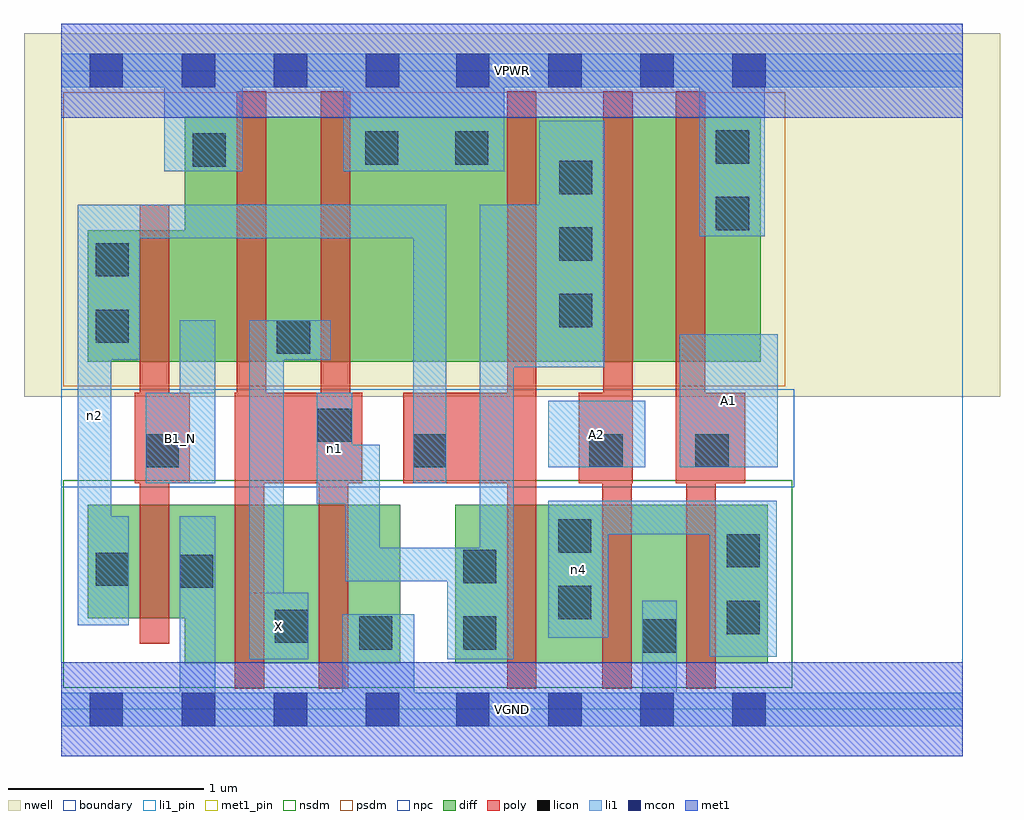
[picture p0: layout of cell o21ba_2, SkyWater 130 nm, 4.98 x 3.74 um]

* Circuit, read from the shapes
.subckt o21ba_2 A1 A2 B1_N VGND VPWR X n1 n2 n4
XM1 VGND B1_N n2 VSUBS sky130_fd_pr__nfet_01v8 w=0.58 l=0.15
XM2 X n1 VGND VSUBS sky130_fd_pr__nfet_01v8 w=0.81 l=0.15 m=2
XM3 n4 n2 n1 VSUBS sky130_fd_pr__nfet_01v8 w=0.81 l=0.15
XM4 VGND A2 n4 VSUBS sky130_fd_pr__nfet_01v8 w=0.81 l=0.15
XM5 n4 A1 VGND VSUBS sky130_fd_pr__nfet_01v8 w=0.81 l=0.15
XM6 VPWR B1_N n2 n3 sky130_fd_pr__pfet_01v8 w=0.67 l=0.15
XM7 X n1 VPWR n3 sky130_fd_pr__pfet_01v8 w=1.25 l=0.15 m=2
XM8 n1 n2 VPWR n3 sky130_fd_pr__pfet_01v8 w=1.25 l=0.15
XM9 n5 A2 n1 n3 sky130_fd_pr__pfet_01v8 w=1.25 l=0.15
XM10 VPWR A1 n5 n3 sky130_fd_pr__pfet_01v8 w=1.25 l=0.15
.ends

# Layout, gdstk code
import gdstk
lib = gdstk.Library(unit=1e-6, precision=1e-09)
def R(c, l, rs):  # rectangles x0, y0, x1, y1
    for r in rs: c.add(gdstk.rectangle(r[:2], r[2:], *l))
def A(c, l, x, y, w, h, nx, ny, dx, dy):  # array of equal rectangles
    R(c, l, [(x+i*dx, y+j*dy, x+i*dx+w, y+j*dy+h) for i in range(nx) for j in range(ny)])
nwell = (64, 20)
diff = (65, 20)
poly = (66, 20)
licon = (66, 44)
li1_pin = (67, 16)
li1 = (67, 20)
mcon = (67, 44)
met1_pin = (68, 16)
met1 = (68, 20)
nsdm = (93, 44)
psdm = (94, 20)
npc = (95, 20)
boundary = (235, 4)

o21ba_2 = lib.new_cell('o21ba_2')
R(o21ba_2, nwell, [(-0.19,1.595,4.79,3.45), (0,1.595,4.6,3.45)])
R(o21ba_2, diff, [(0.63,0.235,1.73,1.045), (2.01,0.235,3.605,1.045), (0.135,0.465,1.73,1.045), (0.135,1.775,3.57,2.445), (0.63,1.775,3.57,3.025)])
R(o21ba_2, poly, [(0.885,0.105,1.035,1.615), (1.315,0.105,1.465,1.615), (2.275,0.105,2.425,3.155), (2.76,0.105,2.91,1.615), (3.19,0.105,3.34,1.615), (0.4,0.335,0.55,2.575), (0.375,1.155,0.655,1.615), (0.885,1.155,1.535,1.615), (0.895,1.155,1.045,3.155), (1.325,1.155,1.475,3.155), (1.745,1.155,2.425,1.615), (2.64,1.155,2.915,1.615), (2.765,1.155,2.915,3.155), (3.135,1.155,3.285,3.155), (3.135,1.155,3.49,1.615)])
A(o21ba_2, licon, 2.54, 1.95, 0.17, 0.17, 1, 3, 0, 0.34)
R(o21ba_2, licon, [(2.965,0.29,3.135,0.46), (1.52,0.305,1.69,0.475), (2.05,0.305,2.22,0.475), (1.09,0.34,1.26,0.51), (3.395,0.385,3.565,0.555), (2.535,0.46,2.705,0.63), (0.605,0.62,0.775,0.79), (0.175,0.63,0.345,0.8), (2.05,0.645,2.22,0.815), (3.395,0.725,3.565,0.895), (2.535,0.8,2.705,0.97), (0.43,1.235,0.6,1.405), (1.795,1.235,1.965,1.405), (2.695,1.235,2.865,1.405), (3.235,1.235,3.405,1.405), (1.31,1.365,1.48,1.535), (1.1,1.815,1.27,1.985), (0.175,1.87,0.345,2.04), (0.175,2.21,0.345,2.38), (3.34,2.445,3.51,2.615), (0.67,2.77,0.84,2.94), (1.55,2.78,1.72,2.95), (2.01,2.78,2.18,2.95), (3.34,2.785,3.51,2.955)])
R(o21ba_2, li1_pin, [(0.96,0.255,1.26,0.595), (0.43,1.155,0.785,1.615), (2.485,1.235,2.98,1.575), (3.155,1.235,3.655,1.915)])
R(o21ba_2, li1, [(0,-0.085,4.6,0.085), (0.605,-0.085,0.785,0.985), (1.435,-0.085,1.8,0.485), (2.965,-0.085,3.14,0.555), (0.96,0.255,1.135,1.985), (0.96,0.255,1.26,0.595), (1.97,0.255,2.31,0.825), (2.135,0.255,2.31,2.575), (3.31,0.27,3.65,1.065), (2.485,0.365,2.79,1.065), (0.085,0.43,0.255,2.575), (0.085,0.43,0.345,0.985), (1.45,0.655,2.31,0.825), (1.45,0.655,1.625,1.35), (2.485,0.895,3.65,1.065), (1.305,1.05,1.485,1.615), (0.43,1.155,0.785,1.615), (0.605,1.155,0.785,1.985), (1.795,1.155,1.965,2.575), (2.485,1.235,2.98,1.575), (3.155,1.235,3.655,1.915), (2.135,1.745,2.77,2.575), (2.44,1.745,2.77,3.005), (0.085,1.785,0.4,2.575), (0.96,1.785,1.375,1.985), (0.085,2.405,1.965,2.575), (3.255,2.415,3.59,3.345), (0.525,2.745,0.925,3.345), (1.44,2.745,2.26,3.345), (0,3.175,4.6,3.345)])
A(o21ba_2, mcon, 0.145, -0.085, 0.17, 0.17, 4, 2, 0.47, 3.26)
A(o21ba_2, mcon, 2.015, -0.085, 0.17, 0.17, 4, 2, 0.47, 3.26)
R(o21ba_2, met1_pin, [(0,-0.24,4.6,0.24), (0,3.02,4.6,3.5)])
R(o21ba_2, met1, [(0,-0.24,4.6,0.24), (0,3.02,4.6,3.5)])
R(o21ba_2, nsdm, [(0.01,0.11,3.73,1.17)])
R(o21ba_2, psdm, [(0.01,1.65,3.695,3.15)])
R(o21ba_2, npc, [(0,1.135,3.74,1.635)])
R(o21ba_2, boundary, [(0,0,4.6,3.26)])
o21ba_2.add(gdstk.Label('A1', (3.405,1.575), layer=67, texttype=5))
o21ba_2.add(gdstk.Label('A2', (2.732,1.405), layer=67, texttype=5))
o21ba_2.add(gdstk.Label('B1_N', (0.607,1.385), layer=67, texttype=5))
o21ba_2.add(gdstk.Label('X', (1.11,0.425), layer=67, texttype=5))
o21ba_2.add(gdstk.Label('n4', (2.637,0.715), layer=67, texttype=5))
o21ba_2.add(gdstk.Label('n2', (0.17,1.502), layer=67, texttype=5))
o21ba_2.add(gdstk.Label('n1', (1.395,1.332), layer=67, texttype=5))
o21ba_2.add(gdstk.Label('VPWR', (2.3,3.26), layer=68, texttype=5))
o21ba_2.add(gdstk.Label('VGND', (2.3,0), layer=68, texttype=5))
o21ba_2.add(gdstk.Label('A1', (3.405,1.575), layer=67, texttype=16))
o21ba_2.add(gdstk.Label('A2', (2.732,1.405), layer=67, texttype=16))
o21ba_2.add(gdstk.Label('B1_N', (0.607,1.385), layer=67, texttype=16))
o21ba_2.add(gdstk.Label('X', (1.11,0.425), layer=67, texttype=16))
o21ba_2.add(gdstk.Label('VPWR', (2.3,3.26), layer=68, texttype=16))
o21ba_2.add(gdstk.Label('VGND', (2.3,0), layer=68, texttype=16))

lib.write_gds('o21ba_2.gds')
